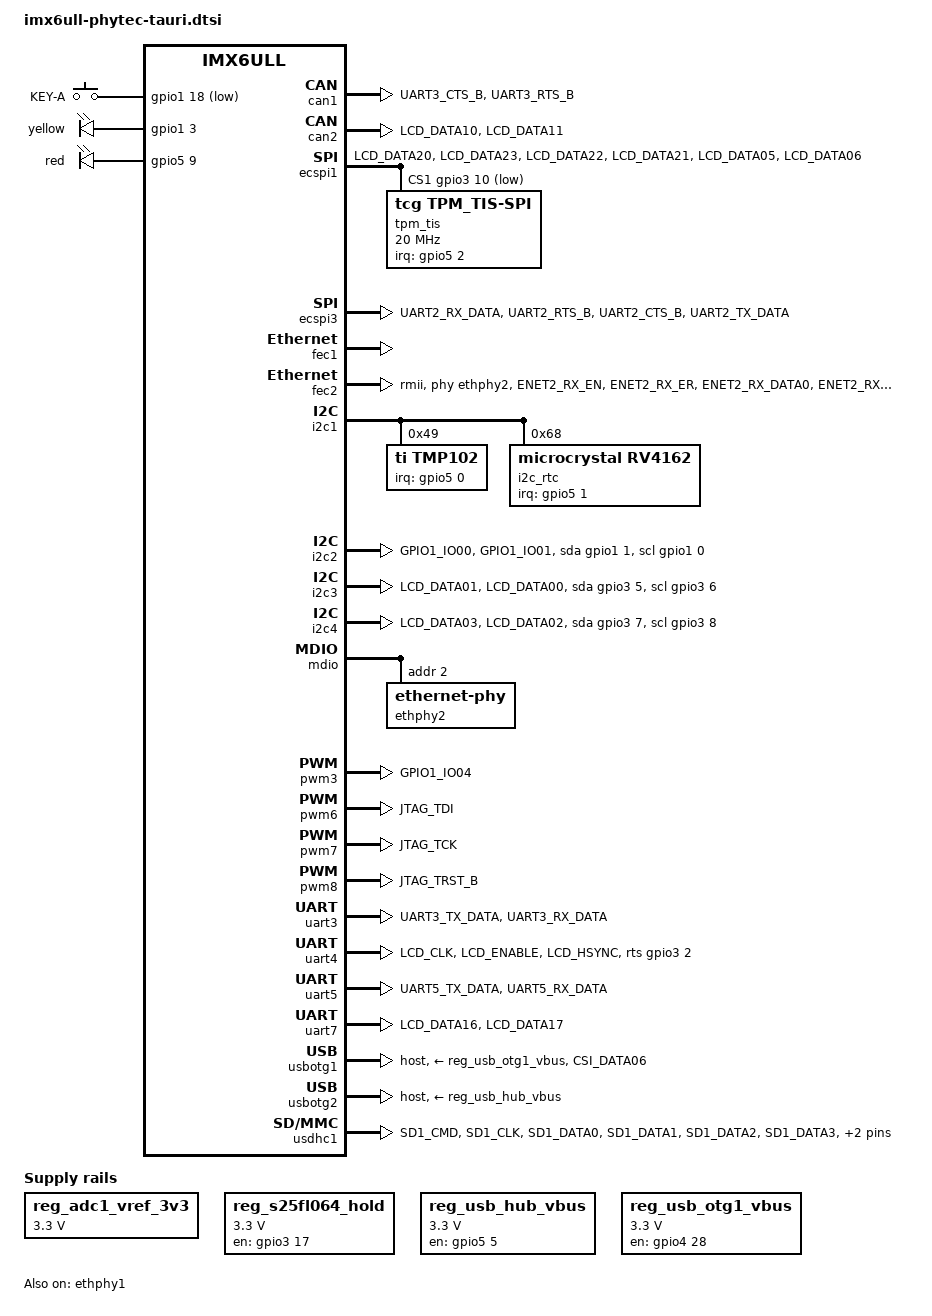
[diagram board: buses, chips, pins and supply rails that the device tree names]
// SPDX-License-Identifier: (GPL-2.0+ OR MIT)
/*
 * Copyright (C) 2021 PHYTEC Messtechnik GmbH
 * Author: Alexander Bauer <a.bauer@phytec.de>
 */

/dts-v1/;
#include "imx6ull.dtsi"
#include "imx6ull-phytec-phycore-som.dtsi"

/ {
	aliases {
		rtc0 = &i2c_rtc;
		rtc1 = &snvs_rtc;
	};

	gpio_keys: gpio-keys {
		compatible = "gpio-key";
		pinctrl-names = "default";
		pinctrl-0 = <&pinctrl_gpio_keys>;

		key {
			label = "KEY-A";
			gpios = <&gpio1 18 GPIO_ACTIVE_LOW>;
			linux,code = <KEY_A>;
			wakeup-source;
		};
	};

	reg_adc1_vref_3v3: regulator-vref-3v3 {
		compatible = "regulator-fixed";
		regulator-name = "vref-3v3";
		regulator-min-microvolt = <3300000>;
		regulator-max-microvolt = <3300000>;
	};

	reg_s25fl064_hold: regulator-s25fl064-hold {
		pinctrl-names = "default";
		pinctrl-0 = <&pinctrl_s25fl064_hold>;
		compatible = "regulator-fixed";
		regulator-name = "s25fl064_hold";
		regulator-min-microvolt = <3300000>;
		regulator-max-microvolt = <3300000>;
		gpio = <&gpio3 17 GPIO_ACTIVE_HIGH>;
		enable-active-high;
		regulator-always-on;
	};

	reg_usb_hub_vbus: regulator-hub-otg1-vbus {
		pinctrl-names = "default";
		pinctrl-0 = <&pinctrl_usbhubpwr>;
		compatible = "regulator-fixed";
		regulator-name = "usb_hub_vbus";
		regulator-min-microvolt = <3300000>;
		regulator-max-microvolt = <3300000>;
		gpio = <&gpio5 5 GPIO_ACTIVE_HIGH>;
		enable-active-high;
		regulator-always-on;
	};

	reg_usb_otg1_vbus: regulator-usb-otg1-vbus {
		pinctrl-names = "default";
		pinctrl-0 = <&pinctrl_usbotg1pwr>;
		compatible = "regulator-fixed";
		regulator-name = "usb_otg1_vbus";
		regulator-min-microvolt = <3300000>;
		regulator-max-microvolt = <3300000>;
		gpio = <&gpio4 28 GPIO_ACTIVE_HIGH>;
		enable-active-high;
		regulator-always-on;
	};

	user_leds: user-leds {
		compatible = "gpio-leds";
		pinctrl-names = "default";
		pinctrl-0 = <&pinctrl_user_leds>,
			    <&pinctrl_user_leds_snvs>;

		user-led1 {
			label = "yellow";
			gpios = <&gpio1 3 GPIO_ACTIVE_HIGH>;
			linux,default-trigger = "off";
		};

		user-led2 {
			label = "red";
			gpios = <&gpio5 9 GPIO_ACTIVE_HIGH>;
			linux,default-trigger = "off";
		};
	};
};

&can1 {
	pinctrl-names = "default";
	pinctrl-0 = <&pinctrl_flexcan1>;
	status = "okay";
};

&can2 {
	pinctrl-names = "default";
	pinctrl-0 = <&pinctrl_flexcan2>;
	status = "okay";
};

&ecspi1 {
	#address-cells = <1>;
	#size-cells = <0>;
	pinctrl-names = "default";
	pinctrl-0 = <&pinctrl_ecspi1>,
		    <&pinctrl_ecspi1_cs>;
	cs-gpios = <&gpio3 26 GPIO_ACTIVE_LOW>,
		   <&gpio3 10 GPIO_ACTIVE_LOW>,
		   <&gpio3 11 GPIO_ACTIVE_LOW>;
	status = "okay";

	tpm_tis: tpm@1 {
		pinctrl-names = "default";
		pinctrl-0 = <&pinctrl_tpm>;
		compatible = "tcg,tpm_tis-spi";
		reg = <1>;
		spi-max-frequency = <20000000>;
		interrupt-parent = <&gpio5>;
		interrupts = <2 IRQ_TYPE_LEVEL_LOW>;
	};

	s25fl064: flash@2 {
		#address-cells = <1>;
		#size-cells = <1>;
		compatible = " jedec,spi-nor";
		reg = <2>;
		spi-max-frequency = <40000000>;
		m25p,fast-read;
		status = "disabled";
	};
};

&ecspi3 {
	pinctrl-names = "default";
	pinctrl-0 = <&pinctrl_ecspi3>;
	cs-gpios = <&gpio1 20 GPIO_ACTIVE_LOW>;
	dmas = <&sdma 7 8 0>,
	       <&sdma 8 8 0>;
	dma-names = "rx", "tx";
	status = "okay";
};

&ethphy1 {
	status = "okay";
};

&fec1 {
	status = "okay";
};

&fec2 {
	pinctrl-names = "default";
	pinctrl-0 = <&pinctrl_enet2>;
	phy-mode = "rmii";
	phy-handle = <&ethphy2>;
	status = "okay";
};

&i2c1 {
	status = "okay";

	tmp102: tmp@49 {
		compatible = "ti,tmp102";
		reg = <0x49>;
		pinctrl-names = "default";
		pinctrl-0 = <&pinctrl_tempsense>;
		interrupt-parent = <&gpio5>;
		interrupts = <0 IRQ_TYPE_LEVEL_LOW>;
		#thermal-sensor-cells = <1>;
	};

	i2c_rtc: rtc@68 {
		pinctrl-names = "default";
		pinctrl-0 = <&pinctrl_rtc_int>;
		compatible = "microcrystal,rv4162";
		reg = <0x68>;
		interrupt-parent = <&gpio5>;
		interrupts = <1 IRQ_TYPE_LEVEL_LOW>;
	};
};

&i2c2 {
	pinctrl-names = "default", "gpio";
	pinctrl-0 = <&pinctrl_i2c2>;
	pinctrl-1 = <&pinctrl_i2c2_gpio>;
	sda-gpios = <&gpio1 1 (GPIO_ACTIVE_HIGH | GPIO_OPEN_DRAIN)>;
	scl-gpios = <&gpio1 0 (GPIO_ACTIVE_HIGH | GPIO_OPEN_DRAIN)>;
	status = "okay";
};

&i2c3 {
	pinctrl-names = "default", "gpio";
	pinctrl-0 = <&pinctrl_i2c3>;
	pinctrl-1 = <&pinctrl_i2c3_gpio>;
	sda-gpios = <&gpio3 5 (GPIO_ACTIVE_HIGH | GPIO_OPEN_DRAIN)>;
	scl-gpios = <&gpio3 6 (GPIO_ACTIVE_HIGH | GPIO_OPEN_DRAIN)>;
	status = "okay";
};

&i2c4 {
	pinctrl-names = "default", "gpio";
	pinctrl-0 = <&pinctrl_i2c4>;
	pinctrl-1 = <&pinctrl_i2c4_gpio>;
	sda-gpios = <&gpio3 7 (GPIO_ACTIVE_HIGH | GPIO_OPEN_DRAIN)>;
	scl-gpios = <&gpio3 8 (GPIO_ACTIVE_HIGH | GPIO_OPEN_DRAIN)>;
	status = "okay";
};

&mdio {
	ethphy2: ethernet-phy@2 {
		reg = <2>;
		micrel,led-mode = <1>;
		clocks = <&clks IMX6UL_CLK_ENET2_REF>;
		clock-names = "rmii-ref";
		status = "okay";
	};
};

&pwm3 {
	pinctrl-names = "default";
	pinctrl-0 = <&pinctrl_pwm3>;
	status = "okay";
};

&pwm6 {
	pinctrl-names = "default";
	pinctrl-0 = <&pinctrl_pwm6>;
	status = "okay";
};

&pwm7 {
	pinctrl-names = "default";
	pinctrl-0 = <&pinctrl_pwm7>;
	status = "okay";
};

&pwm8 {
	pinctrl-names = "default";
	pinctrl-0 = <&pinctrl_pwm8>;
	status = "okay";
};

&uart3 {
	pinctrl-names = "default";
	pinctrl-0 = <&pinctrl_uart3>;
	status = "okay";
};

/* UART4 * RS485  */
&uart4 {
	pinctrl-names = "default";
	pinctrl-0 = <&pinctrl_uart4>;
	rts-gpios = <&gpio3 2 GPIO_ACTIVE_HIGH>;
	linux,rs485-enabled-at-boot-time;
	status = "okay";
};

/* UART5 * RS232  */
&uart5 {
	pinctrl-names = "default";
	pinctrl-0 = <&pinctrl_uart5>;
	uart-has-rtscts;
	status = "okay";
};

&uart7 {
	pinctrl-names = "default";
	pinctrl-0 = <&pinctrl_uart7>;
	status = "okay";
};

/* USB */
&usbotg1 {
	pinctrl-names = "default";
	pinctrl-0 = <&pinctrl_usb_otg1>;
	vbus-supply = <&reg_usb_otg1_vbus>;
	dr_mode = "host";
	disable-over-current;
	status = "okay";
};

&usbotg2 {
	vbus-supply = <&reg_usb_hub_vbus>;
	disable-over-current;
	dr_mode = "host";
	status = "okay";
};

&usdhc1 {
	pinctrl-names = "default", "state_100mhz", "state_200mhz";
	pinctrl-0 = <&pinctrl_usdhc1>;
	pinctrl-1 = <&pinctrl_usdhc1_100mhz>;
	pinctrl-2 = <&pinctrl_usdhc1_200mhz>;
	cd-gpios = <&gpio1 19 GPIO_ACTIVE_LOW>;
	no-1-8-v;
	keep-power-in-suspend;
	wakeup-source;
	status = "okay";
};

&usdhc2 {
	status = "disabled";
};

&iomuxc_snvs {
	pinctrl_rtc_int: rtcintgrp {
		fsl,pins = <
			MX6ULL_PAD_SNVS_TAMPER1__GPIO5_IO01	0x17059
		>;
	};

	pinctrl_stmpe: stmpegrp {
		fsl,pins = <
			MX6ULL_PAD_SNVS_TAMPER3__GPIO5_IO03	0x17059
		>;
	};

	pinctrl_tempsense: tempsensegrp {
		fsl,pins = <
			MX6ULL_PAD_SNVS_TAMPER0__GPIO5_IO00	0x17059
		>;
	};

	pinctrl_tpm: tpmgrp {
		fsl,pins = <
			MX6ULL_PAD_SNVS_TAMPER2__GPIO5_IO02	0x17059
		>;
	};

	pinctrl_usbhubpwr: usbhubpwrgrp {
		fsl,pins = <
			MX6ULL_PAD_SNVS_TAMPER5__GPIO5_IO05	0x17059
		>;
	};

	pinctrl_user_leds_snvs: user_ledsgrp {
		fsl,pins = <
			MX6ULL_PAD_SNVS_TAMPER9__GPIO5_IO09	0x79
		>;
	};
};

&iomuxc {
	pinctrl_gpio: gpiogrp {
		fsl,pins = <
			MX6UL_PAD_CSI_DATA05__GPIO4_IO26	0x17059  /* nUART_MUX_RS232 */
			MX6UL_PAD_CSI_DATA04__GPIO4_IO25	0x17059  /* nUART_MUX_DUAL_RX_TX */
		>;
	};

	pinctrl_gpio_keys: gpiokeysgrp {
		fsl,pins = <
			MX6UL_PAD_UART1_CTS_B__GPIO1_IO18	0x79
		>;
	};

	pinctrl_ecspi3: ecspi3grp {
		fsl,pins = <
			MX6UL_PAD_UART2_RX_DATA__ECSPI3_SCLK	0x100b1
			MX6UL_PAD_UART2_RTS_B__ECSPI3_MISO	0x100b1
			MX6UL_PAD_UART2_CTS_B__ECSPI3_MOSI	0x100b1
			MX6UL_PAD_UART2_TX_DATA__GPIO1_IO20	0x10b0
		>;
	};

	pinctrl_ecspi1: ecspi1grp {
		fsl,pins = <
			MX6UL_PAD_LCD_DATA20__ECSPI1_SCLK	0x100b1
			MX6UL_PAD_LCD_DATA23__ECSPI1_MISO	0x100b1
			MX6UL_PAD_LCD_DATA22__ECSPI1_MOSI	0x100b1
		>;
	};

	pinctrl_ecspi1_cs: ecspi1csgrp {
		fsl,pins = <
			MX6UL_PAD_LCD_DATA21__GPIO3_IO26	0x10b0
			MX6UL_PAD_LCD_DATA05__GPIO3_IO10	0x10b0
			MX6UL_PAD_LCD_DATA06__GPIO3_IO11	0x10b0
		>;
	};


	pinctrl_enet2: enet2grp {
		fsl,pins = <
			MX6UL_PAD_ENET2_RX_EN__ENET2_RX_EN	0x1b0b0
			MX6UL_PAD_ENET2_RX_ER__ENET2_RX_ER	0x1b0b0
			MX6UL_PAD_ENET2_RX_DATA0__ENET2_RDATA00	0x1b0b0
			MX6UL_PAD_ENET2_RX_DATA1__ENET2_RDATA01	0x1b0b0
			MX6UL_PAD_ENET2_TX_EN__ENET2_TX_EN	0x1b010
			MX6UL_PAD_ENET2_TX_DATA0__ENET2_TDATA00	0x1b010
			MX6UL_PAD_ENET2_TX_DATA1__ENET2_TDATA01	0x1b010
			MX6UL_PAD_ENET2_TX_CLK__ENET2_REF_CLK2	0x4001b010
		>;
	};

	pinctrl_flexcan1: flexcan1grp {
		fsl,pins = <
			MX6UL_PAD_UART3_CTS_B__FLEXCAN1_TX	0x0b0b0
			MX6UL_PAD_UART3_RTS_B__FLEXCAN1_RX	0x0b0b0
		>;
	};

	pinctrl_flexcan2: flexcan2grp {
		fsl,pins = <
			MX6UL_PAD_LCD_DATA10__FLEXCAN2_TX	0x0b0b0
			MX6UL_PAD_LCD_DATA11__FLEXCAN2_RX	0x0b0b0
		>;
	};

	princtrl_flexcan2_en: flexcan2engrp {
		fsl,pins = <
			MX6UL_PAD_UART1_CTS_B__GPIO1_IO18	0x17059
		>;
	};

	pinctrl_i2c2: i2c2grp {
		fsl,pins = <
			MX6UL_PAD_GPIO1_IO00__I2C2_SCL	0xb0
			MX6UL_PAD_GPIO1_IO01__I2C2_SDA	0xb0
		>;
	};

	pinctrl_i2c2_gpio: i2c2gpiogrp {
		fsl,pins = <
			MX6UL_PAD_GPIO1_IO00__GPIO1_IO00	0xb0
			MX6UL_PAD_GPIO1_IO01__GPIO1_IO01	0xb0
		>;
	};

	pinctrl_i2c3: i2c3grp {
		fsl,pins = <
			MX6UL_PAD_LCD_DATA01__I2C3_SCL	0xb0
			MX6UL_PAD_LCD_DATA00__I2C3_SDA	0xb0
		>;
	};

	pinctrl_i2c3_gpio: i2c3gpiogrp {
		fsl,pins = <
			MX6UL_PAD_LCD_DATA01__GPIO3_IO06	0xb0
			MX6UL_PAD_LCD_DATA00__GPIO3_IO05	0xb0
		>;
	};

	pinctrl_i2c4: i2c4grp {
		fsl,pins = <
			MX6UL_PAD_LCD_DATA03__I2C4_SCL	0xb0
			MX6UL_PAD_LCD_DATA02__I2C4_SDA	0xb0
		>;
	};

	pinctrl_i2c4_gpio: i2c4gpiogrp {
		fsl,pins = <
			MX6UL_PAD_LCD_DATA03__GPIO3_IO08	0xb0
			MX6UL_PAD_LCD_DATA02__GPIO3_IO07	0xb0
		>;
	};

	pinctrl_pwm3: pwm3grp {
		fsl,pins = <
			MX6UL_PAD_GPIO1_IO04__PWM3_OUT	0x0b0b0
		>;
	};

	pinctrl_pwm6: pwm6grp {
		fsl,pins = <
			MX6UL_PAD_JTAG_TDI__PWM6_OUT	0x0b0b0
		>;
	};

	pinctrl_pwm7: pwm7grp {
		fsl,pins = <
			MX6UL_PAD_JTAG_TCK__PWM7_OUT	0x0b0b0
		>;
	};

	pinctrl_pwm8: pwm8grp {
		fsl,pins = <
			MX6UL_PAD_JTAG_TRST_B__PWM8_OUT	0x0b0b0
		>;
	};

	pinctrl_s25fl064_hold: s25fl064holdgrp {
		fsl,pins = <
			MX6UL_PAD_LCD_DATA12__GPIO3_IO17	0x100b1
		>;
	};

	pinctrl_sai2: sai2grp {
		fsl,pins = <
			MX6UL_PAD_JTAG_TDI__SAI2_TX_BCLK	0x17088
			MX6UL_PAD_JTAG_TDO__SAI2_TX_SYNC	0x17088
			MX6UL_PAD_JTAG_TRST_B__SAI2_TX_DATA	0x11088
			MX6UL_PAD_JTAG_TCK__SAI2_RX_DATA	0x11088
			MX6UL_PAD_JTAG_TMS__SAI2_MCLK		0x17088
		>;
	};

	pinctrl_uart3: uart3grp {
		fsl,pins = <
			MX6UL_PAD_UART3_TX_DATA__UART3_DCE_TX	0x1b0b1
			MX6UL_PAD_UART3_RX_DATA__UART3_DCE_RX	0x1b0b1
		>;
	};

	pinctrl_uart4: uart4grp {
		fsl,pins = <
			MX6UL_PAD_LCD_CLK__UART4_DCE_TX		0x1b0b1
			MX6UL_PAD_LCD_ENABLE__UART4_DCE_RX	0x1b0b1
			MX6UL_PAD_LCD_HSYNC__GPIO3_IO02	0x1b0b1
		>;
	};

	pinctrl_uart5: uart5grp {
		fsl,pins = <
			MX6UL_PAD_UART5_TX_DATA__UART5_DCE_TX	0x1b0b1
			MX6UL_PAD_UART5_RX_DATA__UART5_DCE_RX	0x1b0b1
		>;
	};

	pinctrl_uart7: uart7grp {
		fsl,pins = <
			MX6UL_PAD_LCD_DATA16__UART7_DCE_TX	0x1b0b1
			MX6UL_PAD_LCD_DATA17__UART7_DCE_RX	0x1b0b1
		>;
	};

	pinctrl_usb_otg1: usbotg1grp {
		fsl,pins = <
			MX6UL_PAD_CSI_DATA06__GPIO4_IO27	0x80
		>;
	};

	pinctrl_usbotg1pwr: usbotg1pwrgrp {
		fsl,pins = <
			MX6UL_PAD_CSI_DATA07__GPIO4_IO28	0x17059
		>;
	};

	pinctrl_usdhc1: usdhc1grp {
		fsl,pins = <
			MX6UL_PAD_SD1_CMD__USDHC1_CMD		0x17059
			MX6UL_PAD_SD1_CLK__USDHC1_CLK		0x10059
			MX6UL_PAD_SD1_DATA0__USDHC1_DATA0	0x17059
			MX6UL_PAD_SD1_DATA1__USDHC1_DATA1	0x17059
			MX6UL_PAD_SD1_DATA2__USDHC1_DATA2	0x17059
			MX6UL_PAD_SD1_DATA3__USDHC1_DATA3	0x17059
			MX6UL_PAD_UART1_RTS_B__GPIO1_IO19	0x17059
		>;
	};

	pinctrl_usdhc1_100mhz: usdhc1100mhzgrp {
		fsl,pins = <
			MX6UL_PAD_SD1_CMD__USDHC1_CMD		0x170b9
			MX6UL_PAD_SD1_CLK__USDHC1_CLK		0x100b9
			MX6UL_PAD_SD1_DATA0__USDHC1_DATA0	0x170b9
			MX6UL_PAD_SD1_DATA1__USDHC1_DATA1	0x170b9
			MX6UL_PAD_SD1_DATA2__USDHC1_DATA2	0x170b9
			MX6UL_PAD_SD1_DATA3__USDHC1_DATA3	0x170b9
		>;
	};

	pinctrl_usdhc1_200mhz: usdhc1200mhzgrp {
		fsl,pins = <
			MX6UL_PAD_SD1_CMD__USDHC1_CMD		0x170f9
			MX6UL_PAD_SD1_CLK__USDHC1_CLK		0x100f9
			MX6UL_PAD_SD1_DATA0__USDHC1_DATA0	0x170f9
			MX6UL_PAD_SD1_DATA1__USDHC1_DATA1	0x170f9
			MX6UL_PAD_SD1_DATA2__USDHC1_DATA2	0x170f9
			MX6UL_PAD_SD1_DATA3__USDHC1_DATA3	0x170f9
		>;
	};

	pinctrl_user_leds: userledsgrp {
		fsl,pins = <
			MX6UL_PAD_GPIO1_IO03__GPIO1_IO03	0x79
		>;
	};
};
